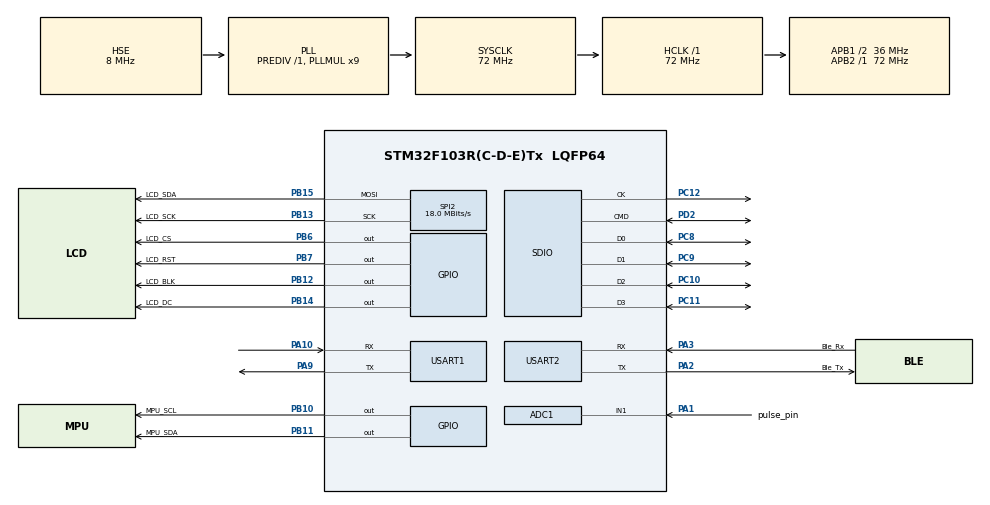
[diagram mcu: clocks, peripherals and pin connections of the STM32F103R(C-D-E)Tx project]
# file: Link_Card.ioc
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ADC1.Channel-0\#ChannelRegularConversion=ADC_CHANNEL_1
ADC1.NbrOfConversionFlag=1
ADC1.Rank-0\#ChannelRegularConversion=1
ADC1.SamplingTime-0\#ChannelRegularConversion=ADC_SAMPLETIME_1CYCLE_5
ADC1.master=1
Dma.Request0=USART2_RX
Dma.Request1=USART2_TX
Dma.Request2=SDIO
Dma.SDIO.2.Direction=DMA_PERIPH_TO_MEMORY
Dma.SDIO.2.Instance=DMA2_Channel4
Dma.SDIO.2.MemDataAlignment=DMA_MDATAALIGN_WORD
Dma.SDIO.2.MemInc=DMA_MINC_ENABLE
Dma.SDIO.2.Mode=DMA_NORMAL
Dma.SDIO.2.PeriphDataAlignment=DMA_PDATAALIGN_WORD
Dma.SDIO.2.PeriphInc=DMA_PINC_DISABLE
Dma.SDIO.2.Priority=DMA_PRIORITY_LOW
Dma.USART2_RX.0.Direction=DMA_PERIPH_TO_MEMORY
Dma.USART2_RX.0.Instance=DMA1_Channel6
Dma.USART2_RX.0.MemDataAlignment=DMA_MDATAALIGN_BYTE
Dma.USART2_RX.0.MemInc=DMA_MINC_ENABLE
Dma.USART2_RX.0.Mode=DMA_CIRCULAR
Dma.USART2_RX.0.PeriphDataAlignment=DMA_PDATAALIGN_BYTE
Dma.USART2_RX.0.PeriphInc=DMA_PINC_DISABLE
Dma.USART2_RX.0.Priority=DMA_PRIORITY_HIGH
Dma.USART2_TX.1.Direction=DMA_MEMORY_TO_PERIPH
Dma.USART2_TX.1.Instance=DMA1_Channel7
Dma.USART2_TX.1.MemDataAlignment=DMA_MDATAALIGN_BYTE
Dma.USART2_TX.1.MemInc=DMA_MINC_ENABLE
Dma.USART2_TX.1.Mode=DMA_NORMAL
Dma.USART2_TX.1.PeriphDataAlignment=DMA_PDATAALIGN_BYTE
Dma.USART2_TX.1.PeriphInc=DMA_PINC_DISABLE
Dma.USART2_TX.1.Priority=DMA_PRIORITY_HIGH
FATFS._CODE_PAGE=437
FATFS._FS_NORTC=1
Mcu.Family=STM32F1
Mcu.Name=STM32F103R(C-D-E)Tx
Mcu.Package=LQFP64
NVIC.DMA1_Channel6_IRQn=true\:0\:0\:false\:false\:true\:false\:true
NVIC.DMA1_Channel7_IRQn=true\:0\:0\:false\:false\:true\:false\:true
NVIC.DMA2_Channel4_5_IRQn=true\:2\:0\:true\:false\:true\:false\:true
NVIC.PriorityGroup=NVIC_PRIORITYGROUP_4
NVIC.SDIO_IRQn=true\:0\:0\:false\:false\:true\:true\:true
NVIC.SPI2_IRQn=true\:1\:0\:true\:false\:true\:true\:true
NVIC.TIM6_IRQn=true\:0\:0\:false\:false\:true\:true\:true
NVIC.USART2_IRQn=true\:1\:0\:true\:false\:true\:true\:true
PA0-WKUP.Mode=SYS_WakeUp0
PA0-WKUP.Signal=SYS_WKUP
PA1.GPIO_Label=pulse_pin
PA1.Signal=ADCx_IN1
PA10.Mode=Asynchronous
PA10.Signal=USART1_RX
PA13.Mode=Serial_Wire
PA13.Signal=SYS_JTMS-SWDIO
PA14.Mode=Serial_Wire
PA14.Signal=SYS_JTCK-SWCLK
PA2.GPIO_Label=Ble_Tx
PA2.Mode=Asynchronous
PA2.Signal=USART2_TX
PA3.GPIO_Label=Ble_Rx
PA3.GPIO_PuPd=GPIO_PULLUP
PA3.Mode=Asynchronous
PA3.Signal=USART2_RX
PA9.Mode=Asynchronous
PA9.Signal=USART1_TX
PB10.GPIO_Label=MPU_SCL
PB10.PinState=GPIO_PIN_SET
PB10.Signal=GPIO_Output
PB11.GPIO_Label=MPU_SDA
PB11.PinState=GPIO_PIN_SET
PB11.Signal=GPIO_Output
PB12.GPIO_Label=LCD_BLK
PB12.GPIO_Speed=GPIO_SPEED_FREQ_HIGH
PB12.PinState=GPIO_PIN_SET
PB12.Signal=GPIO_Output
PB13.GPIO_Label=LCD_SCK
PB13.Mode=TX_Only_Simplex_Unidirect_Master
PB13.Signal=SPI2_SCK
PB14.GPIO_Label=LCD_DC
PB14.GPIO_Speed=GPIO_SPEED_FREQ_HIGH
PB14.PinState=GPIO_PIN_SET
PB14.Signal=GPIO_Output
PB15.GPIO_Label=LCD_SDA
PB15.Mode=TX_Only_Simplex_Unidirect_Master
PB15.Signal=SPI2_MOSI
PB6.GPIO_Label=LCD_CS
PB6.GPIO_Speed=GPIO_SPEED_FREQ_HIGH
PB6.PinState=GPIO_PIN_SET
PB6.Signal=GPIO_Output
PB7.GPIO_Label=LCD_RST
PB7.GPIO_Speed=GPIO_SPEED_FREQ_HIGH
PB7.PinState=GPIO_PIN_SET
PB7.Signal=GPIO_Output
PC10.Mode=SD_4_bits_Wide_bus
PC10.Signal=SDIO_D2
PC11.Mode=SD_4_bits_Wide_bus
PC11.Signal=SDIO_D3
PC12.Mode=SD_4_bits_Wide_bus
PC12.Signal=SDIO_CK
PC8.Mode=SD_4_bits_Wide_bus
PC8.Signal=SDIO_D0
PC9.Mode=SD_4_bits_Wide_bus
PC9.Signal=SDIO_D1
PD0-OSC_IN.Mode=HSE-External-Oscillator
PD0-OSC_IN.Signal=RCC_OSC_IN
PD1-OSC_OUT.Mode=HSE-External-Oscillator
PD1-OSC_OUT.Signal=RCC_OSC_OUT
PD2.Mode=SD_4_bits_Wide_bus
PD2.Signal=SDIO_CMD
ProjectManager.HeapSize=0x400
ProjectManager.StackSize=0x1000
ProjectManager.TargetToolchain=MDK-ARM V5.27
RCC.ADCPresc=RCC_ADCPCLK2_DIV8
RCC.AHBFreq_Value=72000000
RCC.APB1CLKDivider=RCC_HCLK_DIV2
RCC.APB1Freq_Value=36000000
RCC.APB1TimFreq_Value=72000000
RCC.APB2Freq_Value=72000000
RCC.APB2TimFreq_Value=72000000
RCC.HCLKFreq_Value=72000000
RCC.PLLMUL=RCC_PLL_MUL9
RCC.PLLSourceVirtual=RCC_PLLSOURCE_HSE
RCC.SYSCLKFreq_VALUE=72000000
RCC.SYSCLKSource=RCC_SYSCLKSOURCE_PLLCLK
RCC.USBFreq_Value=72000000
SDIO.ClockDiv=4
SH.ADCx_IN1.0=ADC1_IN1,IN1
SPI2.CalculateBaudRate=18.0 MBits/s
SPI2.Direction=SPI_DIRECTION_2LINES
SPI2.Mode=SPI_MODE_MASTER
SPI2.VirtualType=VM_MASTER
TIM6.Period=999
TIM6.Prescaler=71
USART1.VirtualMode=VM_ASYNC
USART2.VirtualMode=VM_ASYNC
VP_FATFS_VS_SDIO.Mode=SDIO
VP_TIM6_VS_ClockSourceINT.Mode=Enable_Timer
board=custom

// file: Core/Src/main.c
/* USER CODE BEGIN Header */
/**
  ******************************************************************************
  * @file           : main.c
  * @brief          : Main program body
  ******************************************************************************
  * @attention
  *
  * <h2><center>&copy; Copyright (c) 2021 STMicroelectronics.
  * All rights reserved.</center></h2>
  *
  * This software component is licensed by ST under BSD 3-Clause license,
  * the "License"; You may not use this file except in compliance with the
  * License. You may obtain a copy of the License at:
  *                        opensource.org/licenses/BSD-3-Clause
  *
  ******************************************************************************
  */
/* USER CODE END Header */
#include "main.h"
#include "fatfs.h"

/* USER CODE BEGIN Includes */
#include "debug.h"
#include "mpu6050.h"
#include "tftlcd.h"
#include "lvgl.h"
#include "lv_port_disp.h"
#include "lv_port_fs.h"
#include "Gui_Test.h"
#include "pulse.h"

/* USER CODE END Includes */

ADC_HandleTypeDef hadc1;

SD_HandleTypeDef hsd;
DMA_HandleTypeDef hdma_sdio;

SPI_HandleTypeDef hspi2;

TIM_HandleTypeDef htim6;

UART_HandleTypeDef huart1;
UART_HandleTypeDef huart2;
DMA_HandleTypeDef hdma_usart2_rx;
DMA_HandleTypeDef hdma_usart2_tx;

/* USER CODE BEGIN PV */
uint8_t page_id = 0;

enum menu
{
    naviga_id = 0,               //导航界面
    pulse_id,                  //心率界面
    note_id,                    //笔记界面
    qq_id,                      //QQ二维码
	weather_id,
};

extern uint8_t store_sd;
extern uint8_t w_update;
uint8_t Ble_Buff[BleLength];        //蓝牙数据存储
extern uint8_t ble_temp[BleLength];

/* USER CODE END PV */

void SystemClock_Config(void);
static void MX_GPIO_Init(void);
static void MX_DMA_Init(void);
static void MX_SPI2_Init(void);
static void MX_ADC1_Init(void);
static void MX_USART1_UART_Init(void);
static void MX_TIM6_Init(void);
static void MX_USART2_UART_Init(void);
static void MX_SDIO_SD_Init(void);
/* USER CODE BEGIN PFP */

void MPU_Init_Wrap()            //初始化MPU6050
{
    while(MPU_Init())
    {
        printf("error\r\n");
    }
    MPU_INT_Init();             //MPU中断初始化
}

/* USER CODE END PFP */

/* USER CODE BEGIN 0 */

void Enter_StandBy(void)
{

    /* 禁用所有唤醒源: 唤醒引脚PA0 */
    HAL_PWR_DisableWakeUpPin(PWR_WAKEUP_PIN1);

    /* 清除所有唤醒标志位 */
    __HAL_PWR_CLEAR_FLAG(PWR_FLAG_WU);

    /* 使能唤醒引脚：PA0做为系统唤醒输入 */
    HAL_PWR_EnableWakeUpPin(PWR_WAKEUP_PIN1);

    LCD_Clear(BLACK);
    /* 进入待机模式 后面的操作不再执行*/
    HAL_PWR_EnterSTANDBYMode();

}

void HAL_TIM_PeriodElapsedCallback(TIM_HandleTypeDef* htim)//1ms中断周期
{
    static uint16_t count = 0;
    static uint16_t count_1s, num = 0;

    if(MPU_Sample == 1)                  //mpu速度检测间隔
    {
        if(count++ >= 1000)              //1s
        {
            count = 0;
            MPU_Sample = 0;
        }
    }

    if(count_1s++ >= 1000)     //设置进入低功耗时间 :1min
    {
        count_1s = 0;
        num++;
        if(num == 200)
        {
            num = 0;
            Enter_StandBy();
        }
    }

    if(htim == (&htim6))                 //lvgl heart beat!!
    {
        lv_tick_inc(1);
    }
}

void Char_alt(uint8_t* buff, uint8_t char_scr, uint8_t char_dst)
{
    while(*buff != NULL)
    {
        if(*buff == char_scr)
        {
            *buff = char_dst;
        }
        buff++;
    }
}

FATFS fs;
FIL fil;

void SD_FAT_WRITE(char* path, uint8_t* content)
{
    uint32_t byteswritten = 0;

    retSD = f_open(&fil, "0:/note.txt", FA_CREATE_ALWAYS | FA_WRITE);
    if(retSD)
        printf(" open file error : %d\r\n", retSD);
    else
        printf(" open file sucess!!! \r\n");

    /*##-3- Write data to the text files ###############################*/
    retSD = f_write(&fil, content, BleLength, (void*)&byteswritten);
    if(retSD)
        printf(" write file error : %d\r\n", retSD);
    else
    {
        printf(" write file sucess!!! \r\n");
    }

    retSD = f_close(&fil);
    if(retSD)
        printf(" close error : %d\r\n", retSD);
    else
        printf(" close sucess!!! \r\n");
}

void note_init(void)
{
    char rtext[128] = {0};
    uint32_t bytesread;

//    lv_fs_open(&fil, "0:/note.txt", LV_FS_MODE_RD);
//    lv_fs_read(&fil, rtext, sizeof(rtext), (UINT*)&bytesread);
//    lv_fs_close(&fil);

//    Char_alt((uint8_t*)rtext, '*', '\n');
//    lv_ta_set_text(ta, rtext);
	retSD = f_mount(&fs, "0:", 1);
	if(retSD)
    {
        printf(" mount error : %d \r\n", retSD);
    }
    else
        printf(" mount sucess!!! \r\n");

	retSD = f_open(&fil, "0:/note.txt", FA_READ);
	if(retSD)
    {
        printf(" open error : %d \r\n", retSD);
    }
    else
        printf(" open sucess!!! \r\n");

	retSD = f_read(&fil, rtext, sizeof(rtext), (UINT*)&bytesread);
	if(retSD)
    {
        printf(" read error : %d \r\n", retSD);
    }
    else
        printf(" read sucess!!! \r\n");

	retSD = f_close(&fil);
    if(retSD)
        printf(" close error!!! %d\r\n", retSD);
    else
        printf(" close sucess!!! \r\n");

	Char_alt((uint8_t*)rtext, '*', '\n');
    lv_ta_set_text(ta, rtext);

}

/* USER CODE END 0 */

int main(void)
{
    /* USER CODE BEGIN 1 */
	uint8_t direct = 0;

    /* USER CODE END 1 */

    /* MCU Configuration--------------------------------------------------------*/

    /* Reset of all peripherals, Initializes the Flash interface and the Systick. */
    HAL_Init();

    /* Configure the system clock */
    SystemClock_Config();

    /* Initialize all configured peripherals */
    MX_GPIO_Init();
    MX_DMA_Init();

	HAL_Delay(500);
    MX_SPI2_Init();

    MX_ADC1_Init();
    MX_USART1_UART_Init();
    MX_TIM6_Init();
    MX_USART2_UART_Init();
    MX_SDIO_SD_Init();
    MX_FATFS_Init();
    /* USER CODE BEGIN 2 */
    HAL_TIM_Base_Start_IT(&htim6);
    MPU_Init_Wrap();

    __HAL_UART_ENABLE_IT(&huart2, UART_IT_IDLE);
    HAL_UART_Receive_DMA(&huart2, (uint8_t*)Ble_Buff, BleLength);

    LCD_Init();
    lv_init();
    lv_port_disp_init();
    lv_port_fs_init();

    Gui_View();
    note_init();

    /* USER CODE END 2 */

    /* Infinite loop */
    /* USER CODE BEGIN WHILE */
    while(1)
    {

        lv_task_handler();
        direct = Mpu_Key();

        switch(page_id)
        {
        case naviga_id:
            Navig_Process(direct);
            break;

        case pulse_id:
            Pulse_Process(direct);
            break;

        case note_id:
            Note_Process(direct);
            break;

		case qq_id:
            QQ_Process(direct);
            break;

		case weather_id:
			Weather_Process(direct);
			break;

        default:
            break;
        }

        if(store_sd == 1)   //蓝牙笔记写进SD卡
        {
            store_sd = 0;
            SD_FAT_WRITE("0:/note.txt", ble_temp);
            Char_alt(ble_temp, '*', '\n');
            lv_ta_set_text(ta, (char*)ble_temp);
        }

		if(w_update == 1)
		{
			w_update = 0;
			Char_alt(ble_temp, '*', '\n');
			lv_ta_set_text(ta_w,(char*)ble_temp);//天气更新

		}

        /* USER CODE END WHILE */

    }
}

void SystemClock_Config(void)
{
    RCC_OscInitTypeDef RCC_OscInitStruct = {0};
    RCC_ClkInitTypeDef RCC_ClkInitStruct = {0};
    RCC_PeriphCLKInitTypeDef PeriphClkInit = {0};

    /** Initializes the RCC Oscillators according to the specified parameters
    * in the RCC_OscInitTypeDef structure.
    */
    RCC_OscInitStruct.OscillatorType = RCC_OSCILLATORTYPE_HSE;
    RCC_OscInitStruct.HSEState = RCC_HSE_ON;
    RCC_OscInitStruct.HSEPredivValue = RCC_HSE_PREDIV_DIV1;
    RCC_OscInitStruct.HSIState = RCC_HSI_ON;
    RCC_OscInitStruct.PLL.PLLState = RCC_PLL_ON;
    RCC_OscInitStruct.PLL.PLLSource = RCC_PLLSOURCE_HSE;
    RCC_OscInitStruct.PLL.PLLMUL = RCC_PLL_MUL9;
    if(HAL_RCC_OscConfig(&RCC_OscInitStruct) != HAL_OK)
    {
        Error_Handler();
    }
    /** Initializes the CPU, AHB and APB buses clocks
    */
    RCC_ClkInitStruct.ClockType = RCC_CLOCKTYPE_HCLK | RCC_CLOCKTYPE_SYSCLK
                                  | RCC_CLOCKTYPE_PCLK1 | RCC_CLOCKTYPE_PCLK2;
    RCC_ClkInitStruct.SYSCLKSource = RCC_SYSCLKSOURCE_PLLCLK;
    RCC_ClkInitStruct.AHBCLKDivider = RCC_SYSCLK_DIV1;
    RCC_ClkInitStruct.APB1CLKDivider = RCC_HCLK_DIV2;
    RCC_ClkInitStruct.APB2CLKDivider = RCC_HCLK_DIV1;

    if(HAL_RCC_ClockConfig(&RCC_ClkInitStruct, FLASH_LATENCY_2) != HAL_OK)
    {
        Error_Handler();
    }
    PeriphClkInit.PeriphClockSelection = RCC_PERIPHCLK_ADC;
    PeriphClkInit.AdcClockSelection = RCC_ADCPCLK2_DIV8;
    if(HAL_RCCEx_PeriphCLKConfig(&PeriphClkInit) != HAL_OK)
    {
        Error_Handler();
    }
}

static void MX_ADC1_Init(void)
{

    ADC_ChannelConfTypeDef sConfig = {0};

    /** Common config
    */
    hadc1.Instance = ADC1;
    hadc1.Init.ScanConvMode = ADC_SCAN_DISABLE;
    hadc1.Init.ContinuousConvMode = DISABLE;
    hadc1.Init.DiscontinuousConvMode = DISABLE;
    hadc1.Init.ExternalTrigConv = ADC_SOFTWARE_START;
    hadc1.Init.DataAlign = ADC_DATAALIGN_RIGHT;
    hadc1.Init.NbrOfConversion = 1;
    if(HAL_ADC_Init(&hadc1) != HAL_OK)
    {
        Error_Handler();
    }
    /** Configure Regular Channel
    */
    sConfig.Channel = ADC_CHANNEL_1;
    sConfig.Rank = ADC_REGULAR_RANK_1;
    sConfig.SamplingTime = ADC_SAMPLETIME_1CYCLE_5;
    if(HAL_ADC_ConfigChannel(&hadc1, &sConfig) != HAL_OK)
    {
        Error_Handler();
    }

}

static void MX_SDIO_SD_Init(void)
{

    hsd.Instance = SDIO;
    hsd.Init.ClockEdge = SDIO_CLOCK_EDGE_RISING;
    hsd.Init.ClockBypass = SDIO_CLOCK_BYPASS_DISABLE;
    hsd.Init.ClockPowerSave = SDIO_CLOCK_POWER_SAVE_DISABLE;
    hsd.Init.BusWide = SDIO_BUS_WIDE_1B;
    hsd.Init.HardwareFlowControl = SDIO_HARDWARE_FLOW_CONTROL_DISABLE;
    hsd.Init.ClockDiv = 4;

}

static void MX_SPI2_Init(void)
{

    /* SPI2 parameter configuration*/
    hspi2.Instance = SPI2;
    hspi2.Init.Mode = SPI_MODE_MASTER;
    hspi2.Init.Direction = SPI_DIRECTION_2LINES;
    hspi2.Init.DataSize = SPI_DATASIZE_8BIT;
    hspi2.Init.CLKPolarity = SPI_POLARITY_LOW;
    hspi2.Init.CLKPhase = SPI_PHASE_1EDGE;
    hspi2.Init.NSS = SPI_NSS_SOFT;
    hspi2.Init.BaudRatePrescaler = SPI_BAUDRATEPRESCALER_2;
    hspi2.Init.FirstBit = SPI_FIRSTBIT_MSB;
    hspi2.Init.TIMode = SPI_TIMODE_DISABLE;
    hspi2.Init.CRCCalculation = SPI_CRCCALCULATION_DISABLE;
    hspi2.Init.CRCPolynomial = 10;
    if(HAL_SPI_Init(&hspi2) != HAL_OK)
    {
        Error_Handler();
    }

}

static void MX_TIM6_Init(void)
{

    TIM_MasterConfigTypeDef sMasterConfig = {0};

    htim6.Instance = TIM6;
    htim6.Init.Prescaler = 71;
    htim6.Init.CounterMode = TIM_COUNTERMODE_UP;
    htim6.Init.Period = 999;
    htim6.Init.AutoReloadPreload = TIM_AUTORELOAD_PRELOAD_DISABLE;
    if(HAL_TIM_Base_Init(&htim6) != HAL_OK)
    {
        Error_Handler();
    }
    sMasterConfig.MasterOutputTrigger = TIM_TRGO_RESET;
    sMasterConfig.MasterSlaveMode = TIM_MASTERSLAVEMODE_DISABLE;
    if(HAL_TIMEx_MasterConfigSynchronization(&htim6, &sMasterConfig) != HAL_OK)
    {
        Error_Handler();
    }

}

static void MX_USART1_UART_Init(void)
{

    huart1.Instance = USART1;
    huart1.Init.BaudRate = 115200;
    huart1.Init.WordLength = UART_WORDLENGTH_8B;
    huart1.Init.StopBits = UART_STOPBITS_1;
    huart1.Init.Parity = UART_PARITY_NONE;
    huart1.Init.Mode = UART_MODE_TX_RX;
    huart1.Init.HwFlowCtl = UART_HWCONTROL_NONE;
    huart1.Init.OverSampling = UART_OVERSAMPLING_16;
    if(HAL_UART_Init(&huart1) != HAL_OK)
    {
        Error_Handler();
    }

}

static void MX_USART2_UART_Init(void)
{

    huart2.Instance = USART2;
    huart2.Init.BaudRate = 115200;
    huart2.Init.WordLength = UART_WORDLENGTH_8B;
    huart2.Init.StopBits = UART_STOPBITS_1;
    huart2.Init.Parity = UART_PARITY_NONE;
    huart2.Init.Mode = UART_MODE_TX_RX;
    huart2.Init.HwFlowCtl = UART_HWCONTROL_NONE;
    huart2.Init.OverSampling = UART_OVERSAMPLING_16;
    if(HAL_UART_Init(&huart2) != HAL_OK)
    {
        Error_Handler();
    }

}

static void MX_DMA_Init(void)
{

    /* DMA controller clock enable */
    __HAL_RCC_DMA1_CLK_ENABLE();
    __HAL_RCC_DMA2_CLK_ENABLE();

    /* DMA interrupt init */
    /* DMA1_Channel6_IRQn interrupt configuration */
    HAL_NVIC_SetPriority(DMA1_Channel6_IRQn, 0, 0);
    HAL_NVIC_EnableIRQ(DMA1_Channel6_IRQn);
    /* DMA1_Channel7_IRQn interrupt configuration */
    HAL_NVIC_SetPriority(DMA1_Channel7_IRQn, 0, 0);
    HAL_NVIC_EnableIRQ(DMA1_Channel7_IRQn);
    /* DMA2_Channel4_5_IRQn interrupt configuration */
    HAL_NVIC_SetPriority(DMA2_Channel4_5_IRQn, 2, 0);
    HAL_NVIC_EnableIRQ(DMA2_Channel4_5_IRQn);

}

static void MX_GPIO_Init(void)
{
    GPIO_InitTypeDef GPIO_InitStruct = {0};

    /* GPIO Ports Clock Enable */
    __HAL_RCC_GPIOD_CLK_ENABLE();
    __HAL_RCC_GPIOA_CLK_ENABLE();
    __HAL_RCC_GPIOB_CLK_ENABLE();
    __HAL_RCC_GPIOC_CLK_ENABLE();

    /*Configure GPIO pin Output Level */
    HAL_GPIO_WritePin(GPIOB, MPU_SCL_Pin | MPU_SDA_Pin | LCD_BLK_Pin | LCD_DC_Pin
                      | LCD_CS_Pin | LCD_RST_Pin, GPIO_PIN_SET);

    /*Configure GPIO pins : MPU_SCL_Pin MPU_SDA_Pin */
    GPIO_InitStruct.Pin = MPU_SCL_Pin | MPU_SDA_Pin;
    GPIO_InitStruct.Mode = GPIO_MODE_OUTPUT_PP;
    GPIO_InitStruct.Pull = GPIO_NOPULL;
    GPIO_InitStruct.Speed = GPIO_SPEED_FREQ_LOW;
    HAL_GPIO_Init(GPIOB, &GPIO_InitStruct);

    /*Configure GPIO pins : LCD_BLK_Pin LCD_DC_Pin LCD_CS_Pin LCD_RST_Pin */
    GPIO_InitStruct.Pin = LCD_BLK_Pin | LCD_DC_Pin | LCD_CS_Pin | LCD_RST_Pin;
    GPIO_InitStruct.Mode = GPIO_MODE_OUTPUT_PP;
    GPIO_InitStruct.Pull = GPIO_NOPULL;
    GPIO_InitStruct.Speed = GPIO_SPEED_FREQ_HIGH;
    HAL_GPIO_Init(GPIOB, &GPIO_InitStruct);

}

void Error_Handler(void)
{
    __disable_irq();
    while(1)
    {
    }
}

/************************ (C) COPYRIGHT STMicroelectronics *****END OF FILE****/
